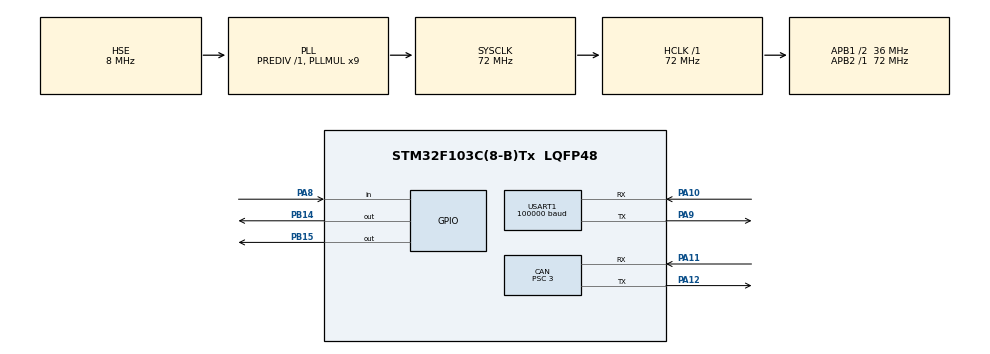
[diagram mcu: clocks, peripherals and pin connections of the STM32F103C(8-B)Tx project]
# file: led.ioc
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CAN.BS1=CAN_BS1_5TQ
CAN.BS2=CAN_BS2_6TQ
CAN.CalculateTimeBit=1000
CAN.CalculateTimeQuantum=83.33333333333334
CAN.Prescaler=3
Mcu.Family=STM32F1
Mcu.Name=STM32F103C(8-B)Tx
Mcu.Package=LQFP48
NVIC.PriorityGroup=NVIC_PRIORITYGROUP_4
NVIC.USART1_IRQn=true\:0\:0\:false\:false\:true\:true\:true
NVIC.USB_LP_CAN1_RX0_IRQn=true\:0\:0\:false\:false\:true\:true\:true
PA10.Mode=Asynchronous
PA10.Signal=USART1_RX
PA11.Mode=Master
PA11.Signal=CAN_RX
PA12.Mode=Master
PA12.Signal=CAN_TX
PA13.Mode=Serial_Wire
PA13.Signal=SYS_JTMS-SWDIO
PA14.Mode=Serial_Wire
PA14.Signal=SYS_JTCK-SWCLK
PA8.Signal=GPIO_Input
PA9.Mode=Asynchronous
PA9.Signal=USART1_TX
PB14.GPIO_Speed=GPIO_SPEED_FREQ_HIGH
PB14.PinState=GPIO_PIN_SET
PB14.Signal=GPIO_Output
PB15.GPIO_Speed=GPIO_SPEED_FREQ_HIGH
PB15.PinState=GPIO_PIN_SET
PB15.Signal=GPIO_Output
PC14-OSC32_IN.Mode=LSE-External-Oscillator
PC14-OSC32_IN.Signal=RCC_OSC32_IN
PC15-OSC32_OUT.Mode=LSE-External-Oscillator
PC15-OSC32_OUT.Signal=RCC_OSC32_OUT
PD0-OSC_IN.Mode=HSE-External-Oscillator
PD0-OSC_IN.Signal=RCC_OSC_IN
PD1-OSC_OUT.Mode=HSE-External-Oscillator
PD1-OSC_OUT.Signal=RCC_OSC_OUT
ProjectManager.HeapSize=0x200
ProjectManager.StackSize=0x400
ProjectManager.TargetToolchain=MDK-ARM V5
RCC.AHBFreq_Value=72000000
RCC.APB1CLKDivider=RCC_HCLK_DIV2
RCC.APB1Freq_Value=36000000
RCC.APB1TimFreq_Value=72000000
RCC.APB2Freq_Value=72000000
RCC.APB2TimFreq_Value=72000000
RCC.HCLKFreq_Value=72000000
RCC.PLLMUL=RCC_PLL_MUL9
RCC.PLLSourceVirtual=RCC_PLLSOURCE_HSE
RCC.SYSCLKFreq_VALUE=72000000
RCC.SYSCLKSource=RCC_SYSCLKSOURCE_PLLCLK
RCC.USBFreq_Value=72000000
USART1.BaudRate=100000
USART1.Mode=MODE_RX
USART1.Parity=PARITY_EVEN
USART1.VirtualMode=VM_ASYNC
board=custom

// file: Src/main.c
/* USER CODE BEGIN Header */
/**
  ******************************************************************************
  * @file           : main.c
  * @brief          : Main program body
  ******************************************************************************
  * @attention
  *
  * <h2><center>&copy; Copyright (c) 2021 STMicroelectronics.
  * All rights reserved.</center></h2>
  *
  * This software component is licensed by ST under BSD 3-Clause license,
  * the "License"; You may not use this file except in compliance with the
  * License. You may obtain a copy of the License at:
  *                        opensource.org/licenses/BSD-3-Clause
  *
  ******************************************************************************
  */
/* USER CODE END Header */

#include "main.h"

/* USER CODE BEGIN Includes */
#include "dbus.h"
#include "M3508.h"
/* USER CODE END Includes */

/* USER CODE BEGIN PD */
#define MAX_CURRENT 16384
/* USER CODE END PD */

CAN_HandleTypeDef hcan;

UART_HandleTypeDef huart1;

/* USER CODE BEGIN PV */
extern RC rc_reciever;
extern uint8_t rx_buffer[18];

CAN_TxHeaderTypeDef CAN1_TX;
CAN_RxHeaderTypeDef CAN1_RX;

uint16_t motor_data;
uint8_t TX_datas[8];
HAL_StatusTypeDef can1_tx_status= HAL_ERROR;
uint32_t mailbox;
uint8_t RX_datas[8];
int16_t set_current = 0;

CONTROLLER_MODE cur_mode;

extern pid_t m1_pid;
extern pid_t m2_pid;
extern pid_t m3_pid;
extern pid_t m4_pid;

   const uint32_t mode = SPEED_PID;

 const uint32_t maxout = 450;
 const uint32_t intergral_limit = 5;

    float 	m1_kp;
    float 	m1_ki;
    float 	m1_kd;

		float 	m2_kp;
    float 	m2_ki;
    float 	m2_kd;

		float 	m3_kp;
    float 	m3_ki;
    float 	m3_kd;

	  float 	m4_kp;
    float 	m4_ki;
    float 	m4_kd;

extern float m1_target,m2_target,m3_target,m4_target;
float m1_speed,m2_speed,m3_speed,m4_speed;
/* USER CODE END PV */

void SystemClock_Config(void);
static void MX_GPIO_Init(void);
static void MX_CAN_Init(void);
static void MX_USART1_UART_Init(void);

int main(void)
{

  /* MCU Configuration--------------------------------------------------------*/

  /* Reset of all peripherals, Initializes the Flash interface and the Systick. */
  HAL_Init();

  /* Configure the system clock */
  SystemClock_Config();

  /* Initialize all configured peripherals */
  MX_GPIO_Init();
  MX_CAN_Init();
  MX_USART1_UART_Init();
  /* USER CODE BEGIN 2 */

	 my_can_filter_init(&hcan);

   dbus_init();
	 my_can_filter_init( &hcan);
	 HAL_CAN_Start(&hcan);

	 PID_struct_init(
    & m1_pid,
     mode,
     maxout,
     intergral_limit,
     	m1_kp,
     	m1_ki,
     	m1_kd);

			 PID_struct_init(
    & m1_pid,
     mode,
     maxout,
     intergral_limit,
     	m4_kp,
     	m4_ki,
     	m4_kd);

			 PID_struct_init(
    & m1_pid,
     mode,
     maxout,
     intergral_limit,
     	m2_kp,
     	m2_ki,
     	m2_kd);

			 PID_struct_init(
    & m1_pid,
     mode,
     maxout,
     intergral_limit,
     	m3_kp,
     	m3_ki,
     	m3_kd);

  /* USER CODE END 2 */

  /* Infinite loop */
  /* USER CODE BEGIN WHILE */
  while (1)
  {
		if(HAL_GPIO_ReadPin(GPIOA,GPIO_PIN_8) == 0)
			HAL_GPIO_WritePin(GPIOB,GPIO_PIN_14,GPIO_PIN_SET);
	  else
			HAL_GPIO_WritePin(GPIOB,GPIO_PIN_14,GPIO_PIN_RESET);
		  update_dbus( rx_buffer);

		if(rc_reciever.s1 == CHASSIS_CONTROL){

			can1_tx_status = HAL_CAN_GetRxMessage(&hcan,CAN_RX_FIFO0 ,&CAN1_RX,RX_datas);
		  cal_motor_speed();
			m1_speed = m1_pid.speed_out;
			m2_speed = m2_pid.speed_out;
			m3_speed = m3_pid.speed_out;
			m4_speed = m4_pid.speed_out;
		  CAN_cmd_chassis(m1_speed,m2_speed,m3_speed,m3_speed);

		}else if(rc_reciever.s1 == ARM_CONTROL){

		//josef work on the pwm control for the arm

		}

    /* USER CODE END WHILE */

  }
}

void SystemClock_Config(void)
{
  RCC_OscInitTypeDef RCC_OscInitStruct = {0};
  RCC_ClkInitTypeDef RCC_ClkInitStruct = {0};

  /** Initializes the CPU, AHB and APB busses clocks
  */
  RCC_OscInitStruct.OscillatorType = RCC_OSCILLATORTYPE_HSE;
  RCC_OscInitStruct.HSEState = RCC_HSE_ON;
  RCC_OscInitStruct.HSEPredivValue = RCC_HSE_PREDIV_DIV1;
  RCC_OscInitStruct.HSIState = RCC_HSI_ON;
  RCC_OscInitStruct.PLL.PLLState = RCC_PLL_ON;
  RCC_OscInitStruct.PLL.PLLSource = RCC_PLLSOURCE_HSE;
  RCC_OscInitStruct.PLL.PLLMUL = RCC_PLL_MUL9;
  if (HAL_RCC_OscConfig(&RCC_OscInitStruct) != HAL_OK)
  {
    Error_Handler();
  }
  /** Initializes the CPU, AHB and APB busses clocks
  */
  RCC_ClkInitStruct.ClockType = RCC_CLOCKTYPE_HCLK|RCC_CLOCKTYPE_SYSCLK
                              |RCC_CLOCKTYPE_PCLK1|RCC_CLOCKTYPE_PCLK2;
  RCC_ClkInitStruct.SYSCLKSource = RCC_SYSCLKSOURCE_PLLCLK;
  RCC_ClkInitStruct.AHBCLKDivider = RCC_SYSCLK_DIV1;
  RCC_ClkInitStruct.APB1CLKDivider = RCC_HCLK_DIV2;
  RCC_ClkInitStruct.APB2CLKDivider = RCC_HCLK_DIV1;

  if (HAL_RCC_ClockConfig(&RCC_ClkInitStruct, FLASH_LATENCY_2) != HAL_OK)
  {
    Error_Handler();
  }
}

static void MX_CAN_Init(void)
{

  hcan.Instance = CAN1;
  hcan.Init.Prescaler = 3;
  hcan.Init.Mode = CAN_MODE_NORMAL;
  hcan.Init.SyncJumpWidth = CAN_SJW_1TQ;
  hcan.Init.TimeSeg1 = CAN_BS1_5TQ;
  hcan.Init.TimeSeg2 = CAN_BS2_6TQ;
  hcan.Init.TimeTriggeredMode = DISABLE;
  hcan.Init.AutoBusOff = DISABLE;
  hcan.Init.AutoWakeUp = DISABLE;
  hcan.Init.AutoRetransmission = DISABLE;
  hcan.Init.ReceiveFifoLocked = DISABLE;
  hcan.Init.TransmitFifoPriority = DISABLE;
  if (HAL_CAN_Init(&hcan) != HAL_OK)
  {
    Error_Handler();
  }

}

static void MX_USART1_UART_Init(void)
{

  huart1.Instance = USART1;
  huart1.Init.BaudRate = 100000;
  huart1.Init.WordLength = UART_WORDLENGTH_8B;
  huart1.Init.StopBits = UART_STOPBITS_1;
  huart1.Init.Parity = UART_PARITY_EVEN;
  huart1.Init.Mode = UART_MODE_RX;
  huart1.Init.HwFlowCtl = UART_HWCONTROL_NONE;
  huart1.Init.OverSampling = UART_OVERSAMPLING_16;
  if (HAL_UART_Init(&huart1) != HAL_OK)
  {
    Error_Handler();
  }

}

static void MX_GPIO_Init(void)
{
  GPIO_InitTypeDef GPIO_InitStruct = {0};

  /* GPIO Ports Clock Enable */
  __HAL_RCC_GPIOC_CLK_ENABLE();
  __HAL_RCC_GPIOD_CLK_ENABLE();
  __HAL_RCC_GPIOB_CLK_ENABLE();
  __HAL_RCC_GPIOA_CLK_ENABLE();

  /*Configure GPIO pin Output Level */
  HAL_GPIO_WritePin(GPIOB, GPIO_PIN_14|GPIO_PIN_15, GPIO_PIN_SET);

  /*Configure GPIO pins : PB14 PB15 */
  GPIO_InitStruct.Pin = GPIO_PIN_14|GPIO_PIN_15;
  GPIO_InitStruct.Mode = GPIO_MODE_OUTPUT_PP;
  GPIO_InitStruct.Pull = GPIO_NOPULL;
  GPIO_InitStruct.Speed = GPIO_SPEED_FREQ_HIGH;
  HAL_GPIO_Init(GPIOB, &GPIO_InitStruct);

  /*Configure GPIO pin : PA8 */
  GPIO_InitStruct.Pin = GPIO_PIN_8;
  GPIO_InitStruct.Mode = GPIO_MODE_INPUT;
  GPIO_InitStruct.Pull = GPIO_NOPULL;
  HAL_GPIO_Init(GPIOA, &GPIO_InitStruct);

}

void Error_Handler(void)
{
}

/************************ (C) COPYRIGHT STMicroelectronics *****END OF FILE****/
